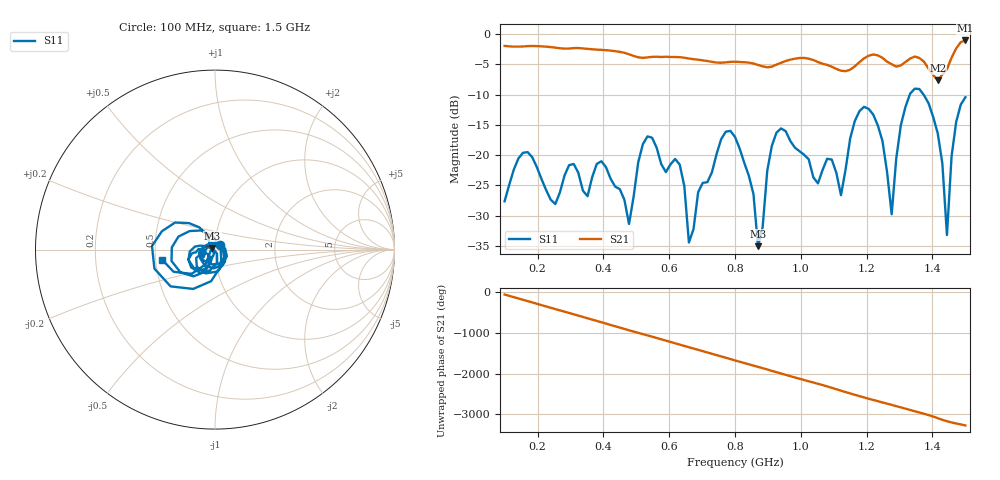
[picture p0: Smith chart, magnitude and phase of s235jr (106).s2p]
! NanoVNA-App
! Date: 2025-09-26 09:45:37
! Start: 100MHz Stop: 1,5GHz Points: 101
! S-Parameter data: F S11 S21 S12 S22
# Hz S RI R 50
!  Frequency  S11_Real  S11_Imag  S21_Real  S21_Imag  S12_Real  S12_Imag  S22_Real  S22_Imag
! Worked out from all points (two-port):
!   101 points, 100 MHz to 1.5 GHz, reference 50 ohm
!   highest |S21| = -1.05 dB at 1.5 GHz (marker M1); lowest = -7.7 dB at 1.416 GHz (marker M2)
!   |S21| within 3 dB of the highest: start of sweep to 661.2 MHz; 1.191 GHz to 1.251 GHz (59.75 MHz wide, 4.89 % of centre)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
!   lowest |S11| = -35.1 dB at 870 MHz (marker M3), VSWR 1.04, Z = 48.5 + j0.917 ohm
!   |S11| at or under -10 dB: start of sweep to 1.331 GHz; 1.373 GHz to end of sweep
!   S12 and S22 are empty: the file has one direction only
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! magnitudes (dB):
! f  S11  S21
! 100 MHz  -27.6  -2.0
! 170 MHz  -19.5  -2.0
! 254 MHz  -28.1  -2.2
! 338 MHz  -25.9  -2.4
! 394 MHz  -21.0  -2.6
! 478 MHz  -31.4  -3.3
! 520 MHz  -18.2  -3.9
! 576 MHz  -21.5  -3.8
! 632 MHz  -21.6  -3.8
! 660 MHz  -34.5  -4.0
! 800 MHz  -17.0  -4.6
! 870 MHz  -35.1  -5.1
! 926 MHz  -16.3  -5.1
! 1.038 GHz  -23.7  -4.3
! 1.122 GHz  -26.6  -6.1
! 1.206 GHz  -12.4  -3.6
! 1.276 GHz  -29.8  -5.0
! 1.332 GHz  -9.9  -4.1
! 1.416 GHz  -16.4  -7.7
! 1.444 GHz  -33.2  -5.8
! 1.458 GHz  -20.2  -3.9
! 1.5 GHz  -10.4  -1.1
